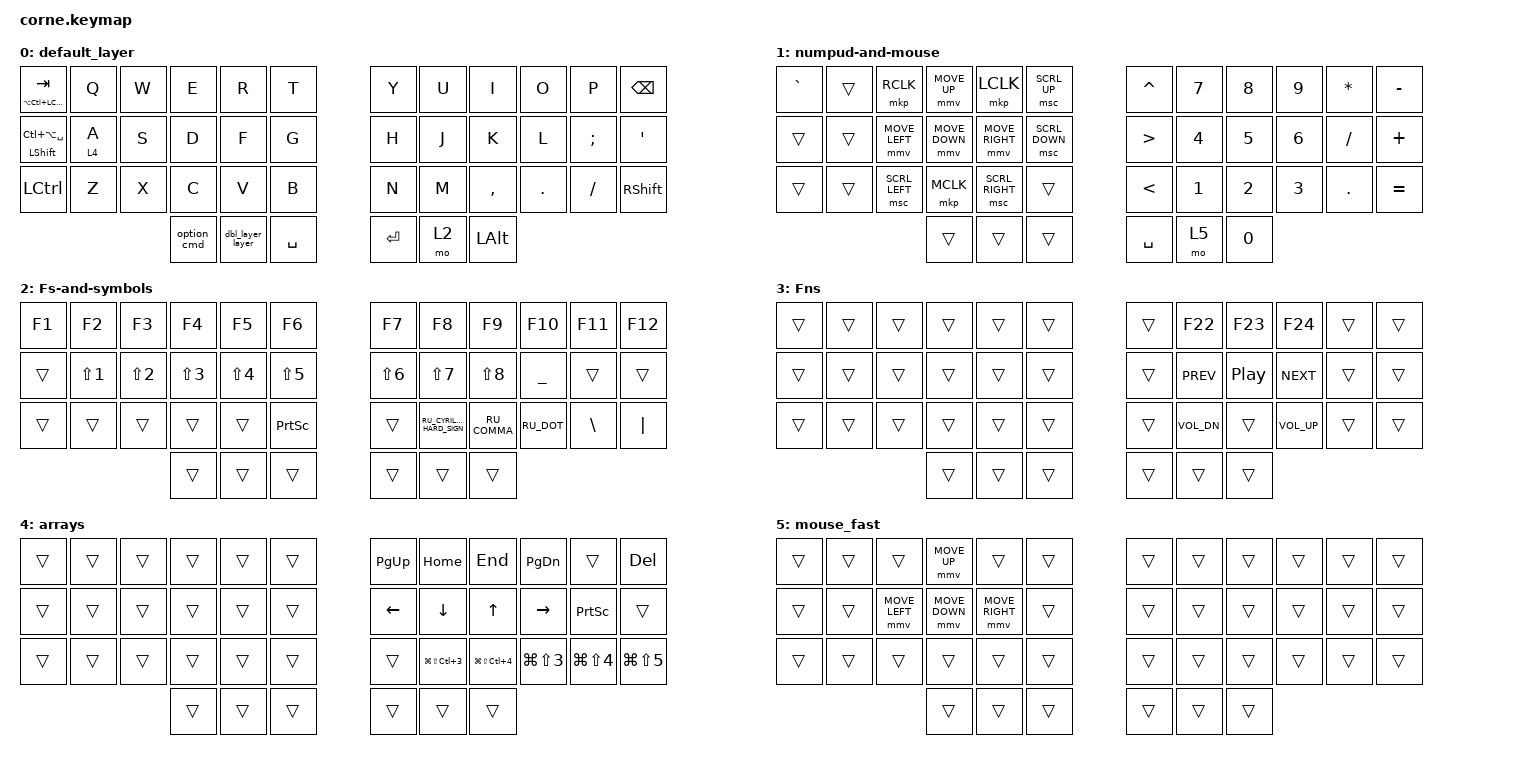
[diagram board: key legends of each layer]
/*
 * Copyright (c) 2020 The ZMK Contributors
 *
 * SPDX-License-Identifier: MIT
 */

#include <input/processors.dtsi>
#include <behaviors.dtsi>
#include <dt-bindings/zmk/keys.h>
#include <dt-bindings/zmk/pointing.h>
#include "keys_ru.h"

&sl { release-after-ms = <200>; };

#define ZMK_POINTING_DEFAULT_MOVE_VAL 900  // default: 600
#define U_MOUSE_MOVE_EXPONENT 2
#define U_MOUSE_MOVE_TIME 200
#define U_MOUSE_MOVE_DELAY 0

/ {
    zip_scroll_scaler: zip_scroll_scaler {
        compatible = "zmk,input-processor-scaler";
        #input-processor-cells = <2>;
        type = <INPUT_EV_REL>;
        codes = <INPUT_REL_WHEEL INPUT_REL_HWHEEL>;
        track-remainders;
    };
};

&mmv_input_listener {
    set_mouse_fast {
        layers = <5>;
        input-processors = <&zip_xy_scaler 2 1>;  // Умножает скорость на 2
    };
};

&msc_input_listener {
    set_scroll_fast {
        layers = <5>;
        input-processors = <&zip_scroll_scaler 2 1>;
    };
};

/ {
    combos {
        compatible = "zmk,combos";

        left-bracket {
            bindings = <&kp LPAR>;
            key-positions = <16 15>;
            layers = <0>;
        };

        right-bracket {
            bindings = <&kp RPAR>;
            key-positions = <19 18>;
            layers = <0>;
        };

        left-curve {
            bindings = <&kp LEFT_BRACE>;
            key-positions = <4 3>;
            layers = <0>;
        };

        right-curve {
            bindings = <&kp RIGHT_BRACE>;
            key-positions = <7 8>;
        };

        left-square {
            bindings = <&kp LEFT_BRACKET>;
            key-positions = <28 27>;
            layers = <0>;
        };

        right-square {
            bindings = <&kp RIGHT_BRACKET>;
            key-positions = <31 32>;
        };

        dqt {
            bindings = <&kp DQT>;
            key-positions = <22 23>;
            layers = <0>;
        };

        minus {
            bindings = <&kp MINUS>;
            key-positions = <21 22>;
            layers = <0>;
        };

        equal {
            bindings = <&kp EQUAL>;
            key-positions = <9 10>;
            layers = <0>;
        };

        russian-ha {
            bindings = <&kp RU_CYRILLIC_HA>;
            key-positions = <10 11>;
        };

        esc {
            bindings = <&kp ESC>;
            key-positions = <19 20>;
        };

        up {
            bindings = <&kp UP>;
            key-positions = <13 20>;
        };

        down {
            bindings = <&kp DOWN_ARROW>;
            key-positions = <13 19>;
        };

        left {
            bindings = <&kp LEFT_ARROW>;
            key-positions = <13 18>;
        };

        right {
            bindings = <&kp RIGHT_ARROW>;
            key-positions = <13 21>;
        };

        TriangleOpen {
            bindings = <&kp LESS_THAN>;
            key-positions = <28 29>;
        };

        TriangleClose {
            bindings = <&kp GREATER_THAN>;
            key-positions = <30 31>;
        };
    };

    behaviors {
        dbl_move_up: dbl_move_up {
            compatible = "zmk,behavior-tap-dance";
            label = "DBL_MOVE_UP";
            #binding-cells = <0>;
            bindings = <&none>, <&mmv MOVE_Y(-1600)>;
        };

        dbl_move_down: dbl_move_down {
            compatible = "zmk,behavior-tap-dance";
            label = "DBL_MOVE_DOWN";
            #binding-cells = <0>;
            bindings = <&none>, <&mmv MOVE_Y(1600)>;
        };

        dbl_move_left: dbl_move_left {
            compatible = "zmk,behavior-tap-dance";
            label = "DBL_MOVE_LEFT";
            #binding-cells = <0>;
            bindings = <&none>, <&mmv MOVE_X(-1600)>;
        };

        dbl_move_right: dbl_move_right {
            compatible = "zmk,behavior-tap-dance";
            label = "DBL_MOVE_RIGHT";
            #binding-cells = <0>;
            bindings = <&none>, <&mmv MOVE_X(1600)>;
        };

        dbl_layer_layer: dbl_layer_layer {
            compatible = "zmk,behavior-tap-dance";
            label = "DBL_LAYER_LAYER";
            #binding-cells = <0>;
            bindings = <&mo 1>, <&mo 3>;
        };

        option_cmd: option_cmd {
            compatible = "zmk,behavior-tap-dance";
            label = "OPTION_CMD";
            #binding-cells = <0>;
            bindings = <&kp LCMD>, <&kp LEFT_ALT>;
        };

        caps_tab_caps: caps_tab_caps {
            compatible = "zmk,behavior-tap-dance";
            label = "CAPS_TAB_CAPS";
            #binding-cells = <0>;
            bindings = <&mt CAPSLOCK TAB>, <&kp CAPSLOCK>;
        };
    };

    macros {
        tap_sl_up: tap_sl {
            compatible = "zmk,behavior-macro";
            #binding-cells = <0>;
            bindings =
                <&macro_press>,
                <&mmv MOVE_UP>,
                <&macro_pause_for_release>,
                <&macro_release>,
                <&mmv MOVE_UP>,
                <&macro_tap>,
                <&dbl_move_up>;

            label = "TAP_SL";
        };

        tap_sl_down: tap_down_sl {
            compatible = "zmk,behavior-macro";
            #binding-cells = <0>;
            bindings =
                <&macro_press>,
                <&mmv MOVE_DOWN>,
                <&macro_pause_for_release>,
                <&macro_release>,
                <&mmv MOVE_DOWN>,
                <&macro_tap>,
                <&dbl_move_down>;

            label = "TAP_DOWN_SL";
        };

        tap_sl_left: tap_sl_left {
            compatible = "zmk,behavior-macro";
            #binding-cells = <0>;
            bindings =
                <&macro_press>,
                <&mmv MOVE_LEFT>,
                <&macro_pause_for_release>,
                <&macro_release>,
                <&mmv MOVE_LEFT>,
                <&macro_tap>,
                <&dbl_move_left>;

            label = "TAP_SL_LEFT";
        };

        tap_sl_right: tap_sl_right {
            compatible = "zmk,behavior-macro";
            #binding-cells = <0>;
            bindings =
                <&macro_press>,
                <&mmv MOVE_RIGHT>,
                <&macro_pause_for_release>,
                <&macro_release>,
                <&mmv MOVE_RIGHT>,
                <&macro_tap>,
                <&dbl_move_right>;

            label = "TAP_SL_RIGHT";
        };
    };

    keymap {
        compatible = "zmk,keymap";

        default_layer {
            // -----------------------------------------------------------------------------------------
            // |  TAB |  Q  |  W  |  E  |  R  |  T  |   |  Y  |  U   |  I  |  O  |  P  | BSPC |
            // | CTRL |  A  |  S  |  D  |  F  |  G  |   |  H  |  J   |  K  |  L  |  ;  |  '   |
            // | SHFT |  Z  |  X  |  C  |  V  |  B  |   |  N  |  M   |  ,  |  .  |  /  | ESC  |
            //                    | GUI | LWR | SPC |   | ENT | RSE  | ALT |

            bindings = <
&mt LA(LC(LEFT_COMMAND)) TAB  &kp Q    &kp W  &kp E        &kp R             &kp T        &kp Y      &kp U  &kp I         &kp O    &kp P     &kp BSPC
&mt LEFT_SHIFT LC(LA(SPACE))  &lt 4 A  &kp S  &kp D        &kp F             &kp G        &kp H      &kp J  &kp K         &kp L    &kp SEMI  &kp SQT
&kp LCTRL                     &kp Z    &kp X  &kp C        &kp V             &kp B        &kp N      &kp M  &kp COMMA     &kp DOT  &kp FSLH  &kp RIGHT_SHIFT
                                              &option_cmd  &dbl_layer_layer  &kp SPACE    &kp ENTER  &mo 2  &kp LEFT_ALT
            >;
        };

        numpud-and-mouse {
            // -----------------------------------------------------------------------------------------
            // |  TAB |  1  |  2  |  3  |  4  |  5  |   |  6  |  7  |  8  |  9  |  0  | BSPC |
            // | BTCLR| BT1 | BT2 | BT3 | BT4 | BT5 |   | LFT | DWN |  UP | RGT |     |      |
            // | SHFT |     |     |     |     |     |   |     |     |     |     |     |      |
            //                    | GUI |     | SPC |   | ENT |     | ALT |

            bindings = <
&kp GRAVE  &trans  &mkp RCLK       &mmv MOVE_UP    &mkp LCLK        &msc SCRL_UP      &kp CARET         &kp N7        &kp N8        &kp N9        &kp ASTRK  &kp MINUS
&trans     &trans  &mmv MOVE_LEFT  &mmv MOVE_DOWN  &mmv MOVE_RIGHT  &msc SCRL_DOWN    &kp GREATER_THAN  &kp NUMBER_4  &kp NUMBER_5  &kp N6        &kp SLASH  &kp PLUS
&trans     &trans  &msc SCRL_LEFT  &mkp MCLK       &msc SCRL_RIGHT  &trans            &kp LESS_THAN     &kp N1        &kp NUMBER_2  &kp NUMBER_3  &kp DOT    &kp EQUAL
                                   &trans          &trans           &trans            &kp SPACE         &mo 5         &kp NUMBER_0
            >;
        };

        Fs-and-symbols {
            // -----------------------------------------------------------------------------------------
            // |  TAB |  !  |  @  |  #  |  $  |  %  |   |  ^  |  &  |  *  |  (  |  )  | BSPC |
            // | CTRL |     |     |     |     |     |   |  -  |  =  |  [  |  ]  |  \  |  `   |
            // | SHFT |     |     |     |     |     |   |  _  |  +  |  {  |  }  | "|" |  ~   |
            //                    | GUI |     | SPC |   | ENT |     | ALT |

            bindings = <
&kp F1  &kp F2      &kp F3            &kp F4            &kp F5            &kp F6              &kp F7      &kp F8                     &kp F9        &kp F10     &kp F11   &kp F12
&trans  &kp LS(N1)  &kp LS(NUMBER_2)  &kp LS(NUMBER_3)  &kp LS(NUMBER_4)  &kp LS(NUMBER_5)    &kp LS(N6)  &kp LS(N7)                 &kp LS(N8)    &kp UNDER   &trans    &trans
&trans  &trans      &trans            &trans            &trans            &kp PRINTSCREEN     &trans      &kp RU_CYRILLIC_HARD_SIGN  &kp RU_COMMA  &kp RU_DOT  &kp BSLH  &kp PIPE
                                      &trans            &trans            &trans              &trans      &trans                     &trans
            >;
        };

        Fns {
            bindings = <
&trans  &trans  &trans  &trans  &trans  &trans    &trans  &kp F22       &kp F23           &kp F24       &trans  &trans
&trans  &trans  &trans  &trans  &trans  &trans    &trans  &kp C_PREV    &kp C_PLAY_PAUSE  &kp C_NEXT    &trans  &trans
&trans  &trans  &trans  &trans  &trans  &trans    &trans  &kp C_VOL_DN  &trans            &kp C_VOL_UP  &trans  &trans
                        &trans  &trans  &trans    &trans  &trans        &trans
            >;
        };

        arrays {
            bindings = <
&trans  &trans  &trans  &trans  &trans  &trans    &kp PG_UP  &kp HOME                  &kp END                   &kp PAGE_DOWN         &trans                &kp DELETE
&trans  &trans  &trans  &trans  &trans  &trans    &kp LEFT   &kp DOWN                  &kp UP                    &kp RIGHT             &kp PRINTSCREEN       &trans
&trans  &trans  &trans  &trans  &trans  &trans    &trans     &kp LG(LS(LC(NUMBER_3)))  &kp LG(LS(LC(NUMBER_4)))  &kp LG(LS(NUMBER_3))  &kp LG(LS(NUMBER_4))  &kp LG(LS(NUMBER_5))
                        &trans  &trans  &trans    &trans     &trans                    &trans
            >;
        };

        mouse_fast {
            bindings = <
&trans  &trans  &trans          &mmv MOVE_UP    &trans           &trans    &trans  &trans  &trans  &trans  &trans  &trans
&trans  &trans  &mmv MOVE_LEFT  &mmv MOVE_DOWN  &mmv MOVE_RIGHT  &trans    &trans  &trans  &trans  &trans  &trans  &trans
&trans  &trans  &trans          &trans          &trans           &trans    &trans  &trans  &trans  &trans  &trans  &trans
                                &trans          &trans           &trans    &trans  &trans  &trans
            >;
        };
    };
};
